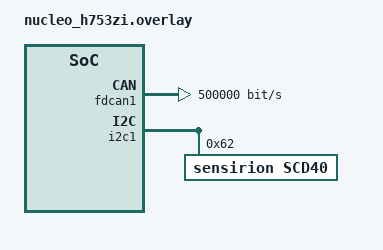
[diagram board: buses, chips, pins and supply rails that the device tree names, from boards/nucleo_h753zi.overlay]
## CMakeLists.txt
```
# SPDX-License-Identifier: Apache-2.0
cmake_minimum_required(VERSION 3.20.0)
find_package(Zephyr REQUIRED HINTS $ENV{ZEPHYR_BASE})
project(scd40_read)

# Generate node.pb.c/.h from the shared contract in proto/ at build time, so the
# firmware can never drift from the schema. The generated code is C (nanopb
# emits extern "C" guards, so including it from C++ is fine) and lives in the
# build directory -- it is never checked in and never hand-edited.
#
# The .options file sitting next to node.proto is picked up automatically by the
# nanopb generator; it is what keeps the generated structs fixed-size.
list(APPEND CMAKE_MODULE_PATH ${ZEPHYR_BASE}/modules/nanopb)
include(nanopb)

zephyr_nanopb_sources(app ${CMAKE_CURRENT_SOURCE_DIR}/../proto/node.proto)

set(SHARED ${CMAKE_CURRENT_SOURCE_DIR}/../shared)

# One translation unit per responsibility. Four are this application's own; two
# come from shared/, compiled by path rather than copied, because the peer node
# links the very same files -- one definition, no drift. protocol.cpp and
# commands.cpp carry no socket or device dependency, which is what also lets
# tests/ compile them on their own -- see notes/testing-guide.md.
target_sources(app PRIVATE
  src/main.cpp         # MQTT sessions: connect, poll, publish, reconnect
  src/sensor.cpp       # SCD-40 thread: acquisition, sample period, bounds
  src/relay.cpp        # the CAN side: heartbeat liveness, ISO-TP both ways
  ${SHARED}/protocol.cpp  # shared: the wire format, internal types <-> protobuf
  ${SHARED}/commands.cpp  # shared: dispatch, dedupe, node identity
)

# app_channels.h, can_link.h, commands.h and protocol.h all live in shared/. The
# threads above meet on the zbus channels declared in shared/app_channels.h;
# relay.cpp and main.cpp also meet on the ones in src/relay.h, which stays here
# because only the gateway relays.
target_include_directories(app PRIVATE ${SHARED})
```

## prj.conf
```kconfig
# C++ application (C++17). Exceptions/RTTI stay off (Zephyr defaults) and the
# minimal C++ runtime is kept — see notes/language-cpp.md.
CONFIG_CPP=y
CONFIG_STD_CPP17=y

# Sensor subsystem + I2C bus (SCD-40 on I2C1). CONFIG_SCD4X is default-y once the
# devicetree node exists, so it needs no explicit enable here.
CONFIG_SENSOR=y
CONFIG_I2C=y

# Read the sensor on demand from the shell (`sensor get scd40@62`) instead of
# polling in main(). Note this selects SENSOR_ASYNC_API, so the shell reads via
# the RTIO path; scd4x implements only the classic sample_fetch/channel_get, so
# it falls back to __sensor_default_decoder (drivers/sensor/default_rtio_sensor.c),
# which calls those same driver ops underneath.
CONFIG_SENSOR_SHELL=y

# printf() to the ST-LINK VCP console. CBPRINTF_FP_SUPPORT gives %f, which the
# sensor shell also needs to print sensor_value as decimals (it selects it too).
CONFIG_STDOUT_CONSOLE=y
CONFIG_CBPRINTF_FP_SUPPORT=y

# --- Networking -------------------------------------------------------------
# The MAC + LAN8742 PHY are already wired in the board devicetree (&mac status
# = "okay" + an eth_phy node), so ETH_STM32_HAL enables itself (default y on
# DT_HAS_ST_STM32_ETHERNET_ENABLED) and pulls in NOCACHE_MEMORY for the H7's DMA
# descriptors. The hardware side needs nothing here.
CONFIG_NETWORKING=y
CONFIG_NET_L2_ETHERNET=y
CONFIG_NET_IPV4=y
CONFIG_NET_IPV6=n

# net_config applies the static address at boot (NET_CONFIG_AUTO_INIT is default
# y), so no app code is needed to bring the interface up. Direct cable to the Pi
# at 192.168.10.1 on the same /24 => every peer is on-link => NO gateway.
CONFIG_NET_CONFIG_SETTINGS=y
CONFIG_NET_CONFIG_NEED_IPV4=y
CONFIG_NET_CONFIG_MY_IPV4_ADDR="192.168.10.2"
CONFIG_NET_CONFIG_MY_IPV4_NETMASK="255.255.255.0"
# The broker (Mosquitto on the Pi). Kept here so every address lives in one file.
CONFIG_NET_CONFIG_PEER_IPV4_ADDR="192.168.10.1"

# --- MQTT client ------------------------------------------------------------
# MQTT 3.1.1 over TCP. Sockets + TCP are what mqtt_lib builds on; see
# docs/mqtt-design.md for the topic/QoS decisions this implements.
CONFIG_NET_SOCKETS=y
CONFIG_NET_TCP=y
CONFIG_MQTT_LIB=y

# --- CAN --------------------------------------------------------------------
# The link to the F072RB peer node. Kconfig only: the board's own devicetree
# already enables fdcan1 on PD0/PD1 and points `chosen { zephyr,canbus }` at it,
# so unlike the SCD-40 there is no node for us to add -- only a bitrate, which
# the board dts does NOT set. See docs/can-bringup.md.
CONFIG_CAN=y
# `can` shell commands: mode, start, bitrate, send, dump, add (rx filter). This
# is what makes the link verifiable with no application code at all -- both in
# internal loopback before a transceiver exists, and against the real bus after.
#
# Note the interaction src/relay.cpp creates: the relay installs its heartbeat
# filter at boot and therefore owns filter slot 0, and M_CAN stops at the first
# match -- so `can dump` will now show NOTHING while heartbeats arrive perfectly.
# Use `can filter add <dev> 0x702`. Full mechanism in docs/can-bringup.md.
CONFIG_CAN_SHELL=y

# ISO-TP (ISO 15765-2), the segmentation layer src/relay.cpp moves protobuf over.
# A Telemetry is up to 43 bytes with its type prefix and a frame carries 8, so
# there is no way around this. notes/can-guide.md §8.
CONFIG_ISOTP=y

# The relay's two threads both drive segmented transfers through k_work_submit(),
# which is the *shared* system workqueue -- so the frame-by-frame half of every
# ISO-TP transfer runs on this stack rather than on the caller's. 1024 is the
# default and is the first number to raise if the link ever misbehaves in ways
# that look like memory corruption.
CONFIG_SYSTEM_WORKQUEUE_STACK_SIZE=2048

# --- Protobuf ---------------------------------------------------------------
# nanopb encodes/decodes the messages in proto/node.proto. The generated structs
# are fixed-size (every variable-length field is bounded in node.options), so no
# allocator is pulled in.
CONFIG_NANOPB=y

# --- zbus (internal thread-to-thread bus) -----------------------------------
# Decouples the sensor thread from the MQTT thread; see src/app_channels.h.
CONFIG_ZBUS=y
# Names cost a few bytes of ROM each and make zbus's own log lines readable.
CONFIG_ZBUS_CHANNEL_NAME=y
CONFIG_ZBUS_OBSERVER_NAME=y

# Message subscribers get a *copy* of every message in order, which is what the
# command channel needs (a dropped command has no next one coming). Telemetry
# uses a plain listener instead, so this pool only ever holds sensor commands.
CONFIG_ZBUS_MSG_SUBSCRIBER=y
# Fixed-size pool rather than the system heap: same no-allocator policy as
# nanopb above. One struct sensor_cmd is 8 bytes.
CONFIG_ZBUS_PREFER_DYNAMIC_ALLOCATION=n
# Sized by the LARGEST message on any message-subscriber channel, since the pool
# is shared. That is struct relay_down (32 B), not struct sensor_cmd (8 B) --
# and deliberately not struct relay_up (164 B), which rides listener channels
# and never touches this pool. See the asymmetry argument in src/relay.h; it is
# worth about 130 bytes per buffer.
CONFIG_ZBUS_MSG_SUBSCRIBER_NET_BUF_STATIC_DATA_SIZE=32
CONFIG_ZBUS_MSG_SUBSCRIBER_NET_BUF_POOL_SIZE=4

# eventfd: a file descriptor the sensor side can signal and zsock_poll() can
# wait on, so the MQTT loop blocks on the socket and the bus in one call
# instead of waking on a timer to check the bus.
CONFIG_ZVFS=y
CONFIG_ZVFS_EVENTFD=y
# Four: our own telemetry, plus the relay's telemetry, ack and status. A hard
# count -- the fourth zvfs_eventfd() simply fails without this.
CONFIG_ZVFS_EVENTFD_MAX=4
# The serve loop polls five descriptors (one socket + four eventfds). This sizes
# a struct k_poll_event array on the stack of EVERY zsock_poll() caller, not just
# ours, so it is set to exactly what is needed rather than rounded up.
CONFIG_ZVFS_POLL_MAX=5

# Shell + net shell: `net iface` shows link state/IP/MAC and `net ping` sends
# ICMP from the board — that is how we prove the Nucleo -> Pi direction.
CONFIG_SHELL=y
CONFIG_NET_SHELL=y

# Log the driver's link up/down and the MAC it derives from the STM32 unique ID.
CONFIG_LOG=y
CONFIG_NET_LOG=y

# A 164-byte struct relay_up and the five-slot poll array both land on main's
# stack now.
CONFIG_MAIN_STACK_SIZE=3072
```

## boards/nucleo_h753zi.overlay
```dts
/* CAN link to the F072RB peer node.
 *
 * Unlike i2c1/scd40 below, there is no node to add: the board dts already sets
 * fdcan1 to "okay" on PD0/PD1 (pinctrl fdcan1_rx_pd0 / fdcan1_tx_pd1) and makes
 * it `chosen { zephyr,canbus }`, and `can` is in the board's supported list.
 *
 * What the board dts does NOT set is a bitrate -- so without this stanza the
 * controller silently comes up at CONFIG_CAN_DEFAULT_BITRATE, which is 125000.
 * The peer node runs at 500 kbit/s, and a bitrate mismatch is a completely dead
 * bus in which every layer above looks correctly configured. The rate lives here
 * rather than in prj.conf because it is a property of the wire both nodes share,
 * not of this app: the F072RB overlay states the same number for the same reason.
 */
&fdcan1 {
	bitrate = <500000>;
};

/* Adafruit SCD-40 on I2C1 (SCL=PB8, SDA=PB9). The board dts already enables
 * i2c1 with the right pinctrl, so we add only the sensor child node. */
&i2c1 {
	scd40: scd40@62 {
		compatible = "sensirion,scd40";
		reg = <0x62>;
		status = "okay";

		/* Skip the boot-time init sweep; src/sensor.cpp calls device_init()
		 * itself once the sensor's 30 ms power-up window has passed. The
		 * board and the sensor share a rail, so on a cold plug-in the MCU
		 * can otherwise reach the driver's POST_KERNEL init while the chip
		 * is still coming up -- and a failed init latches permanently. The
		 * reasoning is in src/sensor.cpp; do not remove one without the
		 * other. */
		zephyr,deferred-init;
	};
};
```

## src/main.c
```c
/* Read the Adafruit SCD-40 (CO2 / temperature / humidity) over I2C via Zephyr's
 * sensor API and print each reading to the console (~every 5 s).
 *
 * The in-tree scd4x driver auto-starts periodic measurement at boot; a fresh
 * sample lands roughly every 5 s. sensor_sample_fetch() returns 0 WITHOUT
 * updating the values when no new sample is ready, so the first reads after boot
 * may show stale/zero data — we poll on a 5 s cadence to match the sensor.
 */
#include <zephyr/kernel.h>
#include <zephyr/device.h>
#include <zephyr/drivers/sensor.h>
#include <stdio.h>

int main(void)
{
	const struct device *const scd40 = DEVICE_DT_GET(DT_NODELABEL(scd40));

	if (!device_is_ready(scd40)) {
		printf("SCD-40 not ready\n");
		return 0;
	}
	printf("SCD-40 online — first valid sample in ~5 s\n");

	while (1) {
		struct sensor_value co2, temp, hum;
		int rc = sensor_sample_fetch(scd40);

		if (rc != 0) {
			printf("sample_fetch failed: %d\n", rc);
			k_sleep(K_SECONDS(5));
			continue;
		}

		sensor_channel_get(scd40, SENSOR_CHAN_CO2, &co2);
		sensor_channel_get(scd40, SENSOR_CHAN_AMBIENT_TEMP, &temp);
		sensor_channel_get(scd40, SENSOR_CHAN_HUMIDITY, &hum);

		printf("CO2: %.0f ppm  |  T: %.2f C  |  RH: %.1f %%\n",
		       sensor_value_to_double(&co2),
		       sensor_value_to_double(&temp),
		       sensor_value_to_double(&hum));

		k_sleep(K_SECONDS(5));
	}
	return 0;
}
```

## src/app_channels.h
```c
/* zbus channels shared between the sensor thread and the MQTT thread.
 *
 * zbus is an *in-process* pub/sub bus between threads on the MCU. Nothing here
 * touches the network — it is the internal decoupling that lets the sensor be
 * read on its own cadence while the MQTT client is busy connecting, blocked in
 * poll(), or backing off after a dropped link.
 *
 * This header is the decisions half of the zbus documentation; the concepts
 * from first principles — channels, the three observer kinds, why latest-wins
 * is a feature, validators, and waiting on a bus and a socket at once — are in
 * notes/zbus-guide.md.
 *
 * The two channels deliberately use different observer styles, for the same
 * reasons the two MQTT topics use different QoS (docs/mqtt-design.md):
 *
 *   chan_telemetry   sensor -> MQTT.  Observed by a LISTENER that only signals;
 *                    the reader then takes the channel's *current* value. A
 *                    channel stores exactly one message, so a reading produced
 *                    while the reader is busy is overwritten — latest wins.
 *                    That is correct here: a stale reading is worse than a
 *                    missing one, and `sequence` makes the loss visible. Same
 *                    argument as telemetry being QoS 0 on the wire.
 *
 *   chan_sensor_cmd  MQTT -> sensor.  Observed by a MESSAGE SUBSCRIBER, which
 *                    receives a *copy* of every message in order. A command has
 *                    no next one coming, so none may be collapsed. Same
 *                    argument as command/ack being QoS 1 on the wire.
 *
 * Both channels are defined in sensor.cpp: the sensor module owns the readings
 * it produces *and* the sample period the commands adjust, so the bounds and
 * the validator live with the code they constrain.
 *
 * ---------------------------------------------------------------------------
 * Two applications now share this header
 * ---------------------------------------------------------------------------
 *
 * The H753ZI gateway (firmware/) and the F072RB peer node (sensor-node/) both
 * include it, and both DEFINE these two channels — each in its own sensor.cpp,
 * for its own sensor. ZBUS_CHAN_DECLARE expands to `extern`, so the header
 * declares and whoever links supplies the definition; tests/commands/ has been
 * using that same seam for chan_sensor_cmd all along, and commands.h now uses
 * it for the node identity.
 *
 * That is what makes the description above hold for both nodes without a word
 * of it being about either one. The SCD-40 fills in CO2, temperature and
 * humidity; the BME280 fills in temperature, humidity and pressure. Neither is
 * a subset of the other, which is why struct sensor_reading carries a presence
 * flag per measurement rather than a value that has to mean "none" — see the
 * comment on it below, and notes/protobuf-guide.md §5 for the wire half.
 *
 * What is NOT here: the CAN link between them. Its address map, its heartbeat
 * frame and its one-byte message type live in can_link.h, because they are a
 * contract between two *boards* rather than between two threads, and this
 * header's whole claim is that nothing in it touches a transport.
 */
#ifndef APP_CHANNELS_H_
#define APP_CHANNELS_H_

#include <zephyr/zbus/zbus.h>

#include <stdint.h>

/* Sample period bounds. Enforced by the chan_sensor_cmd validator, which is the
 * single source of truth for them; commands.cpp only names them in the Ack
 * detail text it sends back to the host. The bounds keep a bad command from either
 * flooding the broker or stalling telemetry entirely. */
#define SAMPLE_PERIOD_DEFAULT_MS 5000U
#define SAMPLE_PERIOD_MIN_MS 1000U
#define SAMPLE_PERIOD_MAX_MS 300000U

/* Note on the minimum: the SCD-40 produces one conversion per ~5 s, and
 * sensor_sample_fetch() returns 0 without updating anything when none is ready.
 * Polling faster than the sensor converts therefore republishes the previous
 * measurements under a fresh sequence and uptime. Known and deliberately not
 * fixed -- see "Accepted limitation" in docs/sensor-bringup.md before changing
 * this value or reading anything into a 1 s cadence. */

/* Deliberately NOT the generated node_Telemetry struct. zbus is internal, the
 * protobuf types are the wire format, and keeping them separate means a schema
 * change stops in protocol.cpp -- the one translation unit that maps between
 * them -- instead of rippling into the sensor thread. */
enum sensor_reading_status {
	SENSOR_READING_OK,
	/* The SCD-40 needs a warm-up before its first valid conversion. */
	SENSOR_READING_WARMING_UP,
	SENSOR_READING_ERROR,
};

struct sensor_reading {
	/* Counts *readings taken*, not messages published. A gap therefore tells
	 * the host either that QoS 0 dropped a publish, or that the node took a
	 * reading it could not deliver (disconnected, or the bus overwrote it).
	 * All three are "you missed one", which is what the field is for. */
	uint32_t sequence;
	uint32_t uptime_ms;

	/* The measurements, each paired with a presence flag. A node fills in
	 * what it can measure and leaves the rest false; nothing has to lie with
	 * a 0. The SCD-40 node here sets the first three and never has_pressure_pa,
	 * and a BME280 node is the mirror image of that.
	 *
	 * This mirrors -- deliberately, not accidentally -- the `optional` fields
	 * in proto/node.proto, which exist for the same reason: a measurement of
	 * zero and no measurement at all are different facts, and a bare scalar
	 * cannot tell them apart. The flags are the internal half of that
	 * distinction, and protocol.cpp is where the two halves meet. */
	bool has_co2_ppm;
	uint32_t co2_ppm;
	bool has_temperature_c;
	float temperature_c;
	bool has_humidity_rh;
	float humidity_rh;
	bool has_pressure_pa;
	uint32_t pressure_pa;

	enum sensor_reading_status status;
};

enum sensor_cmd_kind {
	SENSOR_CMD_SET_INTERVAL,
	SENSOR_CMD_TRIGGER,
};

struct sensor_cmd {
	enum sensor_cmd_kind kind;
	/* Only meaningful for SENSOR_CMD_SET_INTERVAL. */
	uint32_t interval_ms;
};

/* The rule the chan_sensor_cmd validator enforces, stated next to the bounds it
 * compares against rather than in sensor.cpp -- the constants and the
 * comparison drifting apart is exactly the failure a single definition
 * prevents. sensor_cmd_valid() in sensor.cpp is the zbus *adapter* around this
 * (it takes a const void *, as the bus requires); this is the rule itself, and
 * being an ordinary function it can be tested directly. */
static inline bool sensor_cmd_in_range(const struct sensor_cmd *cmd)
{
	switch (cmd->kind) {
	case SENSOR_CMD_SET_INTERVAL:
		return cmd->interval_ms >= SAMPLE_PERIOD_MIN_MS &&
		       cmd->interval_ms <= SAMPLE_PERIOD_MAX_MS;
	case SENSOR_CMD_TRIGGER:
		return true;
	default:
		return false;
	}
}

ZBUS_CHAN_DECLARE(chan_telemetry);
ZBUS_CHAN_DECLARE(chan_sensor_cmd);

#endif /* APP_CHANNELS_H_ */
```

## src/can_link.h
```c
/* The CAN link contract: everything the two ends of the wire must agree on.
 *
 * Included by both applications, because a link is symmetric -- the F072RB peer
 * node sends what the H753ZI gateway expects, and neither is in a position to
 * be right on its own. Anything that only one side needs does NOT belong here.
 *
 * Deliberately free of protobuf, MQTT, zbus and Zephyr driver headers. It is
 * plain constants and two inline functions, which is what lets tests/ compile
 * it with nothing attached. The concepts underneath -- why a CAN identifier
 * names a message rather than a node, why 8 bytes forces this file to exist at
 * all, and what ISO-TP does about it -- are in notes/can-guide.md; the
 * bring-up facts are in docs/can-bringup.md.
 *
 * ---------------------------------------------------------------------------
 * The address map
 * ---------------------------------------------------------------------------
 *
 * Three identifiers per peer node, all 11-bit standard IDs:
 *
 *   0x700 + id   heartbeat, peer -> gateway, one raw frame at 1 Hz
 *   0x7E0 + n    ISO-TP, gateway -> peer  (commands)
 *   0x7E8 + n    ISO-TP, peer -> gateway  (telemetry and acks)
 *
 * where `id` is the node id and n = id - 2, since the gateway is node 1 and the
 * first peer is node 2. For node 2 that is 0x702, 0x7E0 and 0x7E8.
 *
 * The numbers are borrowed rather than invented: 0x700 + node id is CANopen's
 * heartbeat convention, and 0x7E0/0x7E8 is the UDS diagnostic request/response
 * pair. Neither protocol is implemented here. Borrowing the ranges costs
 * nothing and means anyone who has met a CAN bus before can read a trace
 * without this file open, which is the only thing an identifier can do for a
 * human -- see notes/can-guide.md §4 for what it does for the bus.
 *
 * Note what the low identifiers buy on the bus itself: arbitration is won by
 * the numerically lowest id, so the heartbeat at 0x702 beats every ISO-TP frame
 * on the link. That is the right way round -- liveness must not be starved by
 * a long segmented transfer -- and it is a property of the numbering, not of
 * any code below.
 */
#ifndef CAN_LINK_H_
#define CAN_LINK_H_

#include <stdbool.h>
#include <stddef.h>
#include <stdint.h>

/* The bus is 500 kbit/s. That number is NOT here: it lives in each board's
 * devicetree overlay, because it configures a controller rather than describing
 * a message, and Kconfig's default of 125000 would otherwise apply silently.
 * See docs/can-bringup.md. */

/* The gateway is node 1 and speaks MQTT; peers start at 2. */
constexpr uint8_t kGatewayNodeId = 1;
constexpr uint8_t kFirstPeerNodeId = 2;

constexpr uint16_t kHeartbeatIdBase = 0x700;
constexpr uint16_t kIsotpToPeerBase = 0x7E0;
constexpr uint16_t kIsotpToGatewayBase = 0x7E8;

constexpr uint16_t heartbeat_id(uint8_t node_id)
{
	return kHeartbeatIdBase + node_id;
}

constexpr uint16_t isotp_id_to_peer(uint8_t node_id)
{
	return kIsotpToPeerBase + (node_id - kFirstPeerNodeId);
}

constexpr uint16_t isotp_id_to_gateway(uint8_t node_id)
{
	return kIsotpToGatewayBase + (node_id - kFirstPeerNodeId);
}

/* ---------------------------------------------------------------------------
 * The one byte of protocol above ISO-TP
 * ---------------------------------------------------------------------------
 *
 * An ISO-TP payload here is [0] = a message type, [1..] = protobuf bytes
 * verbatim. The gateway reads byte 0, strips it, and forwards the remainder
 * untouched -- it never decodes what a peer sent.
 *
 * That byte exists because ISO-TP has no equivalent of an MQTT topic, and
 * docs/mqtt-design.md's rule still applies: the type is not on the wire
 * (notes/protobuf-guide.md §4), so something outside the payload has to assert
 * it. On MQTT the topic does; here this byte does. It is the same decision,
 * paying the same one-byte price it used to get free.
 *
 * The alternative was a separate address pair per message type, which would
 * mean two binds, two receive contexts and either two threads or a poll over
 * structures isotp.h marks internal. One byte is cheaper, and it keeps the
 * address map short enough to hold in your head.
 */
enum relay_msg_type : uint8_t {
	RELAY_MSG_TELEMETRY = 1,
	RELAY_MSG_ACK = 2,
	RELAY_MSG_COMMAND = 3,
};

/* ---------------------------------------------------------------------------
 * The heartbeat frame
 * ---------------------------------------------------------------------------
 *
 * Exactly 8 bytes, hand-packed, sent as one raw CAN frame -- no ISO-TP. This is
 * where the eight-byte limit stops being an abstraction: a protobuf Telemetry
 * cannot fit, and a heartbeat that needed segmenting would defeat its own
 * purpose, since the thing it reports on is the link that would have to carry
 * the segments.
 *
 * So the layout is fixed by agreement, in the style a DBC file records for a
 * real vehicle bus (notes/can-guide.md §8):
 *
 *   byte 0   layout version, currently 1
 *   byte 1   node state (enum heartbeat_state)
 *   byte 2-5 uptime in seconds, uint32 little-endian
 *   byte 6   low 8 bits of the telemetry sequence
 *   byte 7   reserved, 0xFF
 *
 * Two decisions worth keeping:
 *
 * Byte 0 is a version, and it is first, because this layout has none of the
 * evolution machinery protobuf gives the payloads. Nothing else in the frame
 * can tell a reader that the sender's idea of byte 3 has changed. Its cost is
 * one byte of eight -- 12.5% of the frame spent on being able to change the
 * other seven -- and that is the honest price of hand-packing.
 *
 * Byte 6 is the sequence truncated to 8 bits, which is deliberate and lossy.
 * The gateway compares it against the last telemetry it relayed and can see a
 * gap without decoding anything; wrapping every 256 samples is harmless because
 * the comparison is only ever between adjacent beats. A full uint32 would not
 * have fitted beside the uptime anyway, which is the sort of thing eight bytes
 * decides for you.
 */
constexpr uint8_t kHeartbeatLayoutVersion = 1;
constexpr size_t kHeartbeatLen = 8;

enum heartbeat_state : uint8_t {
	HEARTBEAT_STATE_BOOT = 0,
	HEARTBEAT_STATE_WARMING_UP = 1,
	HEARTBEAT_STATE_OK = 2,
	HEARTBEAT_STATE_SENSOR_ERROR = 3,
};

struct heartbeat {
	enum heartbeat_state state;
	uint32_t uptime_s;
	uint8_t sequence_low;
};

/* Pack into exactly kHeartbeatLen bytes. Little-endian by hand rather than by
 * memcpy of a uint32: both parts are ARM and little-endian today, and writing
 * the shifts out is what stops that from being load-bearing. */
static inline void heartbeat_pack(const struct heartbeat *hb, uint8_t *out)
{
	out[0] = kHeartbeatLayoutVersion;
	out[1] = static_cast<uint8_t>(hb->state);
	out[2] = static_cast<uint8_t>(hb->uptime_s & 0xFF);
	out[3] = static_cast<uint8_t>((hb->uptime_s >> 8) & 0xFF);
	out[4] = static_cast<uint8_t>((hb->uptime_s >> 16) & 0xFF);
	out[5] = static_cast<uint8_t>((hb->uptime_s >> 24) & 0xFF);
	out[6] = hb->sequence_low;
	out[7] = 0xFF;
}

/* Unpack, returning false if this is not a frame we understand. Rejecting on
 * the version is the whole reason byte 0 exists: a future node that repurposes
 * byte 7 must be ignored rather than half-read, and "ignored" here means the
 * gateway will time the peer out and report it offline -- which is the correct
 * outcome for a peer it cannot understand. Length is checked too, since a
 * shorter frame is legal CAN and would otherwise read past the data. */
static inline bool heartbeat_unpack(const uint8_t *in, size_t len, struct heartbeat *out)
{
	if (len != kHeartbeatLen || in[0] != kHeartbeatLayoutVersion) {
		return false;
	}
	if (in[1] > HEARTBEAT_STATE_SENSOR_ERROR) {
		return false;
	}

	out->state = static_cast<enum heartbeat_state>(in[1]);
	out->uptime_s = static_cast<uint32_t>(in[2]) | (static_cast<uint32_t>(in[3]) << 8) |
			(static_cast<uint32_t>(in[4]) << 16) |
			(static_cast<uint32_t>(in[5]) << 24);
	out->sequence_low = in[6];
	return true;
}

/* One beat per second; the gateway calls a peer offline after 3.5 s of silence.
 * The ratio is what matters: 3.5 tolerates three lost beats without a false
 * alarm, and is short enough that a dead peer is noticed within one telemetry
 * period. Both ends need these, which is why they are here and not in either
 * app -- a peer beating slower than the gateway's timeout would look
 * permanently dead, and nothing would report the disagreement. */
constexpr uint32_t kHeartbeatPeriodMs = 1000;
constexpr uint32_t kHeartbeatTimeoutMs = 3500;

#endif /* CAN_LINK_H_ */
```

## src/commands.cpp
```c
/* Command dispatch. See commands.h for why this is its own translation unit. */
#include "commands.h"

#include <zephyr/kernel.h>
#include <zephyr/logging/log.h>
#include <zephyr/zbus/zbus.h>

#include <errno.h>
#include <stdio.h>
#include <string.h>

#include "app_channels.h"

LOG_MODULE_REGISTER(commands, LOG_LEVEL_INF);

namespace {

/* QoS 1 is at-least-once, so a redelivered command must not be executed twice.
 * We report OK for duplicates (the host still wants its Ack) but skip the side
 * effect -- re-running "set interval" would be harmless, "trigger" is not. */
bool have_last_command;
uint32_t last_command_sequence;

/* Hand a command to the sensor thread over the bus and translate the result
 * into an Ack status. Bounds checking is the channel validator's job, so this
 * function only reports what the bus told it -- the wire layer never gets a
 * second, drifting copy of the sensor's rules. */
node_AckStatus forward_to_sensor(const struct sensor_cmd &sc, char *detail, size_t detail_len)
{
	int rc = zbus_chan_pub(&chan_sensor_cmd, &sc, K_MSEC(100));

	switch (rc) {
	case 0:
		return node_AckStatus_ACK_STATUS_OK;

	case -ENOMSG:
		/* The validator rejected it: the message never reached the
		 * channel, so nothing was changed. */
		snprintf(detail, detail_len, "interval %u outside [%u,%u]", sc.interval_ms,
			 SAMPLE_PERIOD_MIN_MS, SAMPLE_PERIOD_MAX_MS);
		return node_AckStatus_ACK_STATUS_INVALID_ARGUMENT;

	default:
		/* Channel busy, or the subscriber's queue is full. */
		snprintf(detail, detail_len, "bus publish failed: %d", rc);
		return node_AckStatus_ACK_STATUS_FAILED;
	}
}

/* Execute a decoded command. Returns the status to report, and may fill
 * `detail` and the DeviceInfo half of the result. */
node_AckStatus apply_command(const node_Command &cmd, struct command_result *out)
{
	switch (cmd.which_payload) {
	case node_Command_set_interval_tag: {
		struct sensor_cmd sc = {};

		sc.kind = SENSOR_CMD_SET_INTERVAL;
		sc.interval_ms = cmd.payload.set_interval.interval_ms;
		return forward_to_sensor(sc, out->detail, sizeof(out->detail));
	}

	case node_Command_trigger_measurement_tag: {
		struct sensor_cmd sc = {};

		sc.kind = SENSOR_CMD_TRIGGER;
		return forward_to_sensor(sc, out->detail, sizeof(out->detail));
	}

	case node_Command_get_device_info_tag:
		out->info = node_DeviceInfo_init_zero;
		strncpy(out->info.firmware_version, kFirmwareVersion,
			sizeof(out->info.firmware_version) - 1);
		strncpy(out->info.board, kBoardName, sizeof(out->info.board) - 1);
		strncpy(out->info.client_id, kNodeClientId, sizeof(out->info.client_id) - 1);
		out->has_info = true;
		return node_AckStatus_ACK_STATUS_OK;

	default:
		/* A oneof member this firmware does not know: the host is newer
		 * than the node. Protobuf decoded it fine -- the gap is in our
		 * handlers, which is exactly what UNSUPPORTED reports. This is
		 * also where a payload that was never a Command at all ends up,
		 * since those decode to which_payload == 0. */
		snprintf(out->detail, sizeof(out->detail), "unknown command tag %u",
			 static_cast<unsigned>(cmd.which_payload));
		return node_AckStatus_ACK_STATUS_UNSUPPORTED;
	}
}

}  // namespace

void handle_command(const node_Command &cmd, struct command_result *out)
{
	*out = {};

	LOG_INF("command seq=%u tag=%u schema=%u", cmd.sequence,
		static_cast<unsigned>(cmd.which_payload), cmd.schema_version);

	if (have_last_command && cmd.sequence == last_command_sequence) {
		LOG_WRN("duplicate command seq=%u ignored", cmd.sequence);
		out->status = node_AckStatus_ACK_STATUS_OK;
		strncpy(out->detail, "duplicate ignored", sizeof(out->detail) - 1);
		return;
	}

	out->status = apply_command(cmd, out);

	have_last_command = true;
	last_command_sequence = cmd.sequence;
}
```

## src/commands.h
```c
/* Command semantics: what this node *does* when a Command arrives.
 *
 * Deliberately separate from both neighbours. protocol.cpp turns bytes into a
 * node_Command and knows nothing about what the fields mean; main.cpp owns the
 * MQTT session and knows nothing about command semantics beyond "decode it,
 * handle it, ack the result". This file is the middle: dispatch, duplicate
 * suppression, this node's identity, and forwarding to the sensor thread.
 *
 * It depends on zbus and protocol, never on MQTT or sockets -- which is what
 * lets tests/commands/ link it against a test-owned chan_sensor_cmd and
 * exercise the real rejection path. See notes/testing-guide.md.
 */
#ifndef COMMANDS_H_
#define COMMANDS_H_

#include <node.pb.h>

/* Who this node is. Reported by GetDeviceInfo, and kNodeClientId doubles as the
 * MQTT client id the gateway connects with -- one identity per node, named once
 * per node. The bounds are the max_size values in proto/node.options; strings
 * longer than those are truncated when encoded.
 *
 * kNodeClientId is DECLARED here and defined by whoever links this file: the
 * gateway's main.cpp, the sensor node's main.cpp, or the test. That is the same
 * seam app_channels.h uses for chan_sensor_cmd, and for the same reason -- this
 * translation unit is compiled into more than one application now, and the one
 * thing that must differ between them is which node it is speaking for. A
 * per-app header would not work: a quoted #include resolves against the
 * including file's directory first, so this file would always find the
 * gateway's copy.
 *
 * kBoardName is per-app for free, since CONFIG_BOARD is a build-time constant.
 */
constexpr const char *kFirmwareVersion = "0.5.0";
constexpr const char *kBoardName = CONFIG_BOARD;
extern const char *const kNodeClientId;

/* What happened, not what to do: handle_command() performs its own side effects
 * and reports the outcome. `detail` is sized to the max_size of Ack.detail. */
struct command_result {
	node_AckStatus status;
	char detail[48];
	bool has_info;
	node_DeviceInfo info;
};

/* Execute a decoded command and fill *out with the Ack-worthy outcome.
 *
 * Duplicate suppression lives here rather than in the transport: QoS 1 is
 * at-least-once, so a redelivered command must not be executed twice. A repeat
 * of the previous sequence number is reported OK (the host still gets its Ack)
 * with the side effect skipped. */
void handle_command(const node_Command &cmd, struct command_result *out);

#endif /* COMMANDS_H_ */
```

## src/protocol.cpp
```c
/* Wire-format encode/decode. See protocol.h for what this file is for and why
 * it has no MQTT, socket, zbus or device dependency. */
#include "protocol.h"

#include <zephyr/logging/log.h>

#include <string.h>

#include <pb_decode.h>
#include <pb_encode.h>

LOG_MODULE_REGISTER(protocol, LOG_LEVEL_INF);

size_t encode_telemetry(const struct sensor_reading &reading, uint8_t *out, size_t out_len)
{
	node_Telemetry msg = node_Telemetry_init_zero;

	msg.schema_version = kSchemaVersion;
	msg.sequence = reading.sequence;
	msg.uptime_ms = reading.uptime_ms;
	msg.co2_ppm = reading.co2_ppm;
	msg.temperature_c = reading.temperature_c;
	msg.humidity_rh = reading.humidity_rh;

	/* The internal enum and the wire enum are mapped explicitly rather than
	 * cast. The cost is this switch; the benefit is that the two can be
	 * renumbered independently, and the compiler flags the mapping when
	 * either gains a value. */
	switch (reading.status) {
	case SENSOR_READING_OK:
		msg.sensor_status = node_SensorStatus_SENSOR_STATUS_OK;
		break;
	case SENSOR_READING_WARMING_UP:
		msg.sensor_status = node_SensorStatus_SENSOR_STATUS_WARMING_UP;
		break;
	case SENSOR_READING_ERROR:
	default:
		msg.sensor_status = node_SensorStatus_SENSOR_STATUS_ERROR;
		break;
	}

	/* An output stream writing into a caller-supplied buffer. nanopb never
	 * allocates: if the message does not fit, encoding fails rather than
	 * growing anything. node_Telemetry_size (36) is the generated upper
	 * bound, so a correctly sized buffer cannot overflow here. */
	pb_ostream_t stream = pb_ostream_from_buffer(out, out_len);

	if (!pb_encode(&stream, node_Telemetry_fields, &msg)) {
		LOG_ERR("telemetry encode failed: %s", PB_GET_ERROR(&stream));
		return 0;
	}
	return stream.bytes_written;
}

size_t encode_ack(uint32_t seq, node_AckStatus status, const char *detail,
		  const node_DeviceInfo *info, uint8_t *out, size_t out_len)
{
	node_Ack ack = node_Ack_init_zero;

	ack.schema_version = kSchemaVersion;
	ack.sequence = seq;
	ack.status = status;

	if (detail != nullptr) {
		/* Bounded by max_size:48 in node.options. Truncating the
		 * diagnostic is fine; hosts branch on `status`, not this text. */
		strncpy(ack.detail, detail, sizeof(ack.detail) - 1);
	}
	if (info != nullptr) {
		ack.has_device_info = true;
		ack.device_info = *info;
	}

	pb_ostream_t stream = pb_ostream_from_buffer(out, out_len);

	if (!pb_encode(&stream, node_Ack_fields, &ack)) {
		LOG_ERR("ack encode failed: %s", PB_GET_ERROR(&stream));
		return 0;
	}
	return stream.bytes_written;
}

bool decode_command(const uint8_t *buf, size_t len, bool oversized, node_Command *out)
{
	*out = node_Command_init_zero;

	if (oversized) {
		LOG_ERR("command decode failed: payload too large");
		return false;
	}

	pb_istream_t stream = pb_istream_from_buffer(buf, len);

	if (!pb_decode(&stream, node_Command_fields, out)) {
		LOG_ERR("command decode failed: %s", PB_GET_ERROR(&stream));
		*out = node_Command_init_zero;
		return false;
	}
	return true;
}
```

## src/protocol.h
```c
/* The wire format: where this firmware's internal types become the protobuf
 * contract in proto/node.proto, and back.
 *
 * This is the *only* translation unit that knows both representations. The
 * sensor side (sensor.cpp) never mentions node_Telemetry; the transport side
 * (main.cpp) never mentions struct sensor_reading beyond handing it here. A
 * schema change therefore stops at this file instead of rippling outwards --
 * which is the argument the header comment in app_channels.h makes for the
 * internal types existing at all.
 *
 * Nothing here touches MQTT, sockets, zbus or a device. That is deliberate: it
 * is what lets tests/protocol/ compile this file on its own and exercise every
 * encode and decode path without hardware. See notes/testing-guide.md.
 *
 * Concepts -- varints, wire types, why nanopb needs a bound on every string --
 * are in notes/protobuf-guide.md; the schema decisions are inline in
 * proto/node.proto.
 */
#ifndef PROTOCOL_H_
#define PROTOCOL_H_

#include <stddef.h>
#include <stdint.h>

#include "app_channels.h"

/* Generated from proto/node.proto at build time. C, with extern "C" guards. */
#include <node.pb.h>

/* Bumped only when a change to proto/node.proto breaks old readers. Additive
 * field changes do not touch it -- protobuf handles those on its own. */
constexpr uint32_t kSchemaVersion = 1;

/* Encode a reading as a Telemetry message. Returns the number of bytes written,
 * or 0 if encoding failed. `out_len` must be at least node_Telemetry_size. */
size_t encode_telemetry(const struct sensor_reading &reading, uint8_t *out, size_t out_len);

/* Encode an Ack. `detail` may be nullptr; longer text is truncated to the
 * max_size in proto/node.options, which is fine because hosts branch on
 * `status`, not on the text. `info` may be nullptr; when set it is attached as
 * the optional DeviceInfo submessage. Returns bytes written, or 0 on failure. */
size_t encode_ack(uint32_t seq, node_AckStatus status, const char *detail,
		  const node_DeviceInfo *info, uint8_t *out, size_t out_len);

/* Decode a Command payload. `oversized` reports that the caller could not keep
 * the whole payload; such a message is rejected outright rather than decoded
 * from a truncated buffer, because a partial message can decode into something
 * plausible and acting on half a command is worse than refusing it.
 *
 * Returns false on either failure, with *out left zero-initialised. Note what a
 * `true` return does NOT promise: that the bytes were meant as a Command. The
 * encoding carries no type identity, so unrelated bytes can decode cleanly into
 * a Command with every field defaulted -- see notes/protobuf-guide.md §4. That
 * case is caught downstream by the which_payload dispatch in commands.cpp. */
bool decode_command(const uint8_t *buf, size_t len, bool oversized, node_Command *out);

#endif /* PROTOCOL_H_ */
```
